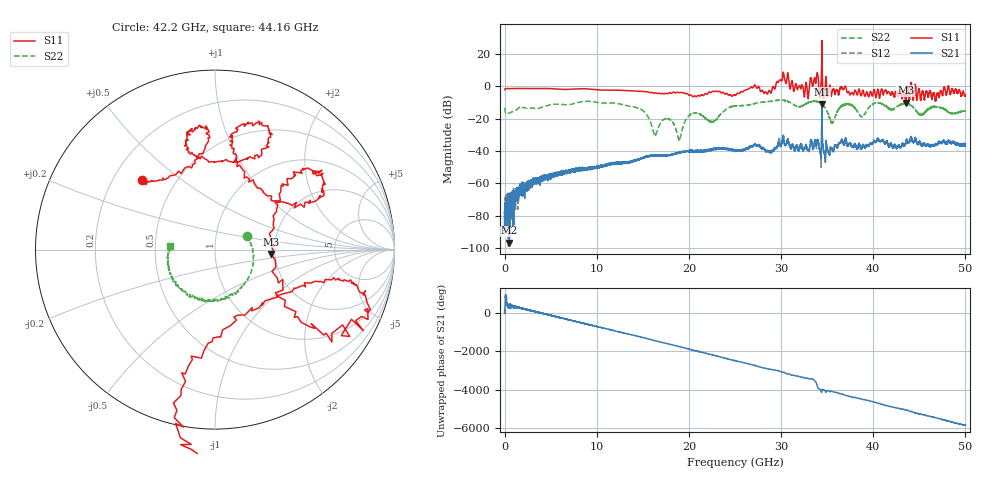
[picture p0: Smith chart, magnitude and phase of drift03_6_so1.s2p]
!Created with skrf (http://scikit-rf.org).
# Hz S RI R 50.0
!freq ReS11 ImS11 ReS21 ImS21 ReS12 ImS12 ReS22 ImS22
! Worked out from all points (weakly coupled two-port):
!   10000 points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, 5.3 MHz to 50 GHz, reference 50 ohm
!   highest |S21| = -11.10 dB at 34.43 GHz (marker M1); lowest = -96.7 dB at 520.3 MHz (marker M2)
!   lowest |S11| = -10.0 dB at 43.54 GHz (marker M3), VSWR 1.92, Z = 95.6 - j5.1 ohm
!   |S11| at or under -10 dB: 43.515 GHz to 43.51517 GHz (163.8 kHz wide, 0.000376 % of centre); 43.53943 GHz to 43.54033 GHz (907.2 kHz wide, 0.00208 % of centre)
!   |S22| runs from -33.4 to -8.5 dB; largest |S21 - S12| = 0.087
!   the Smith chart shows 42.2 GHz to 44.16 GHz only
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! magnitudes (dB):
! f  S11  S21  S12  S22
! 5.3 MHz  -2.1  -77.4  -78.8  -13.3
! 520.3 MHz  -1.4  -96.7  -70.8  -16.4
! 3.07 GHz  -1.4  -59.1  -59.4  -13.4
! 8.34 GHz  -1.5  -51.4  -51.2  -9.5
! 14.51 GHz  -3.1  -45.4  -45.3  -13.4
! 16.67 GHz  -4.4  -42.9  -42.9  -25.7
! 17.82 GHz  -4.2  -42.8  -42.4  -20.1
! 18.96 GHz  -4.0  -41.1  -40.9  -33.3
! 20.27 GHz  -5.5  -39.9  -40.2  -16.9
! 22.56 GHz  -3.1  -39.0  -38.9  -21.9
! 25.01 GHz  -5.5  -39.2  -39.9  -12.1
! 28.72 GHz  -2.5  -41.0  -40.6  -9.4
! 30.14 GHz  4.3  -33.4  -34.1  -8.6
! 32.74 GHz  2.1  -37.3  -36.5  -10.7
! 33.34 GHz  2.4  -34.7  -35.2  -9.4
! 34.43 GHz  28.3  -11.1  -13.1  -11.0
! 35.54 GHz  -3.2  -39.0  -39.0  -22.8
! 36.95 GHz  0.0  -33.2  -33.4  -11.2
! 38.75 GHz  -5.3  -38.3  -38.3  -18.8
! 41.67 GHz  -3.4  -37.0  -36.9  -13.4
! 43.54 GHz  -10.0  -34.7  -34.8  -10.7
! 50 GHz  -5.3  -35.6  -36.5  -15.4
